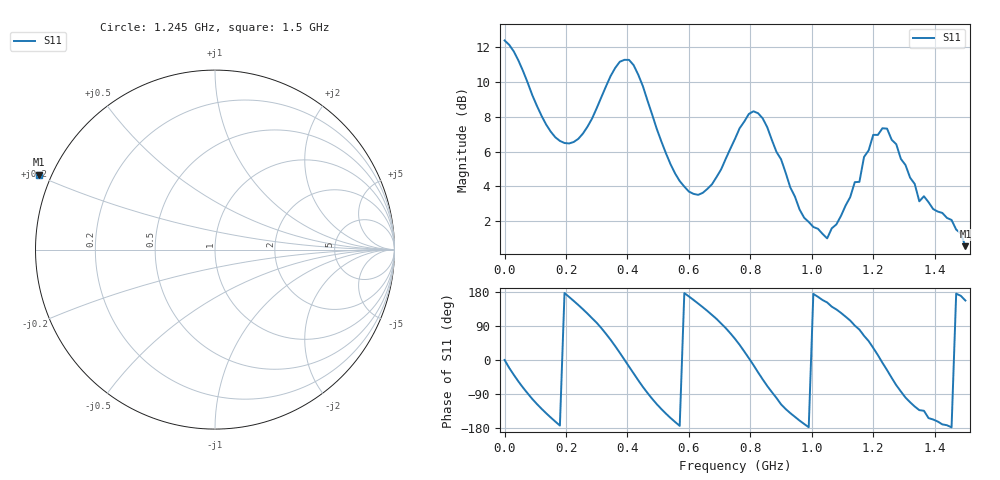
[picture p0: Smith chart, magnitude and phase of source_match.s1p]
! Created with skrf 1.8.0 (http://scikit-rf.org).
# Hz S RI R 50.0
!freq ReS11 ImS11
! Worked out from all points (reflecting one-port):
!   101 points, 50 kHz to 1.5 GHz, reference 50 ohm
!   lowest |S11| = 0.6 dB at 1.5 GHz (marker M1)
!   phase of S11 starts at 0 deg and turns -1283 deg over the sweep
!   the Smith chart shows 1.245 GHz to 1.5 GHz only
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50000  4.167 0.00394
3.0049e7  2.999 -2.452
6.0048e7  0.9977 -3.253
1.20046e8  -1.576 -1.982
1.950435e8  -2.108 0.1222
2.550415e8  -1.559 1.62
3.150395e8  0.2926 2.847
3.450385e8  1.962 2.643
3.750375e8  3.422 1.178
4.050365e8  3.498 -1.091
4.350355e8  1.98 -2.667
4.50035e8  1.009 -2.91
4.950335e8  -1.026 -2.085
5.70031e8  -1.631 -0.1768
6.750275e8  -0.7771 1.405
7.50025e8  1.218 1.797
7.80024e8  2.244 0.94
8.10023e8  2.537 -0.5956
8.550215e8  0.8537 -2.183
9.0002e8  -0.863 -1.687
9.450185e8  -1.281 -0.7437
1.125012e9  -0.3593 1.431
1.18501e9  1.291 1.541
1.230009e9  2.309 -0.3006
1.275008e9  0.8362 -1.92
1.320006e9  -0.6141 -1.562
1.380004e9  -1.274 -0.6414
1.5e9  -0.9805 0.4176
